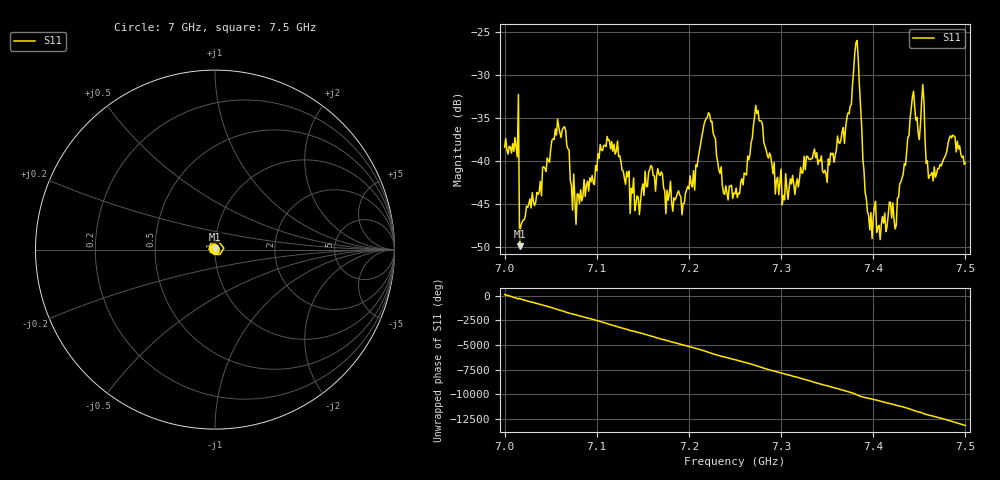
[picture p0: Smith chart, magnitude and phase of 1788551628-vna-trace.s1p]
! Created with skrf 1.10.0 (http://scikit-rf.org).
# Hz S RI R 50.0
!freq ReS11 ImS11
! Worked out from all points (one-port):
!   401 points, 7 GHz to 7.5 GHz, reference 50 ohm
!   lowest |S11| = -49.9 dB at 7.016 GHz (marker M1), VSWR 1.01, Z = 49.9 + j0.312 ohm
!   |S11| at or under -10 dB: start of sweep to end of sweep
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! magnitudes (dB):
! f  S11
! 7 GHz  -38.4
! 7.013 GHz  -38.4
! 7.016 GHz  -49.9
! 7.019 GHz  -47.2
! 7.062 GHz  -36.4
! 7.079 GHz  -43.8
! 7.11 GHz  -38.3
! 7.125 GHz  -39.4
! 7.144 GHz  -44.1
! 7.159 GHz  -40.5
! 7.188 GHz  -43.7
! 7.22 GHz  -34.9
! 7.25 GHz  -43.8
! 7.274 GHz  -34.5
! 7.296 GHz  -41.9
! 7.312 GHz  -41.7
! 7.348 GHz  -41.1
! 7.375 GHz  -33.6
! 7.383 GHz  -26.0
! 7.394 GHz  -45.9
! 7.406 GHz  -47.5
! 7.425 GHz  -47.4
! 7.438 GHz  -37.3
! 7.444 GHz  -31.9
! 7.454 GHz  -31.1
! 7.463 GHz  -41.6
! 7.485 GHz  -37.3
! 7.5 GHz  -40.3
